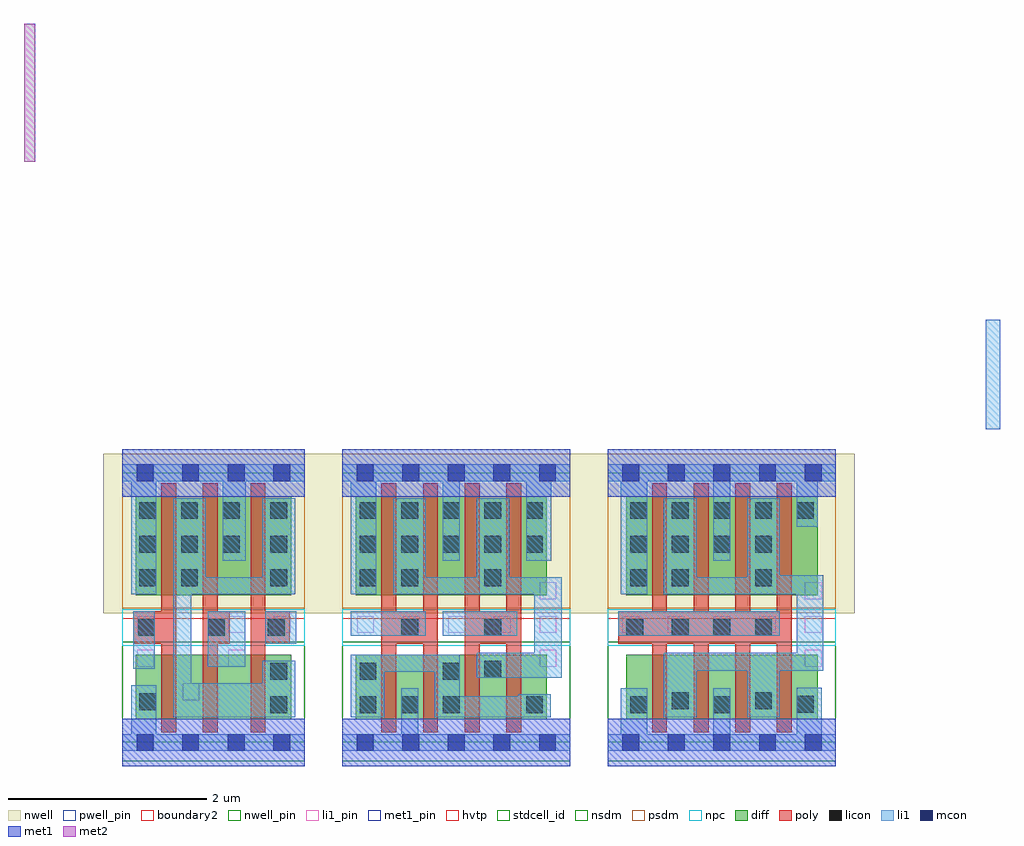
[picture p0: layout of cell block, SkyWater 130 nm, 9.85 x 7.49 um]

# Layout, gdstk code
import gdstk
lib = gdstk.Library(unit=1e-6, precision=1e-09)
def R(c, l, rs):  # rectangles x0, y0, x1, y1
    for r in rs: c.add(gdstk.rectangle(r[:2], r[2:], *l))
def A(c, l, x, y, w, h, nx, ny, dx, dy):  # array of equal rectangles
    R(c, l, [(x+i*dx, y+j*dy, x+i*dx+w, y+j*dy+h) for i in range(nx) for j in range(ny)])
def P(c, l, *ps):  # polygons
    for p in ps: c.add(gdstk.Polygon(p, *l))
nwell_pin = (64, 16)
nwell = (64, 20)
diff = (65, 20)
poly = (66, 20)
licon = (66, 44)
li1_pin = (67, 16)
li1 = (67, 20)
mcon = (67, 44)
met1_pin = (68, 16)
met1 = (68, 20)
met2 = (69, 20)
hvtp = (78, 44)
stdcell_id = (81, 4)
nsdm = (93, 44)
psdm = (94, 20)
npc = (95, 20)
pwell_pin = (122, 16)
boundary2 = (236, 0)

sky130_fd_sc_hd__nand3_1 = lib.new_cell('sky130_fd_sc_hd__nand3_1')
R(sky130_fd_sc_hd__nand3_1, nwell_pin, [(0.15,2.635,0.32,2.805)])
R(sky130_fd_sc_hd__nand3_1, nwell, [(-0.19,1.305,2.03,2.91)])
R(sky130_fd_sc_hd__nand3_1, diff, [(0.135,0.235,1.705,0.885), (0.135,1.485,1.705,2.485)])
P(sky130_fd_sc_hd__nand3_1, poly, [(1.295,0.105),(1.295,2.615),(1.445,2.615),(1.445,1.325),(1.69,1.325),(1.69,0.995),(1.445,0.995),(1.445,0.105)],
  [(0.815,0.105),(0.815,2.615),(0.965,2.615),(0.965,1.325),(1.085,1.325),(1.085,0.995),(0.965,0.995),(0.965,0.105)],
  [(0.395,0.105),(0.395,0.995),(0.11,0.995),(0.11,1.325),(0.395,1.325),(0.395,2.615),(0.545,2.615),(0.545,0.105)])
A(sky130_fd_sc_hd__nand3_1, licon, 1.495, 1.575, 0.17, 0.17, 1, 3, 0, 0.34)
A(sky130_fd_sc_hd__nand3_1, licon, 0.175, 1.915, 0.17, 0.17, 3, 2, 0.42, 0.34)
R(sky130_fd_sc_hd__nand3_1, licon, [(1.495,0.295,1.665,0.465), (0.175,0.325,0.345,0.495), (1.495,0.635,1.665,0.805), (0.16,1.075,0.33,1.245), (0.865,1.075,1.035,1.245), (1.47,1.075,1.64,1.245), (0.175,1.575,0.345,1.745), (0.595,1.575,0.765,1.745)])
R(sky130_fd_sc_hd__nand3_1, li1_pin, [(0.61,0.425,0.78,0.595), (0.15,0.765,0.32,0.935), (1.07,0.765,1.24,0.935), (0.15,1.105,0.32,1.275), (1.07,1.105,1.24,1.275), (1.53,1.105,1.7,1.275)])
R(sky130_fd_sc_hd__nand3_1, li1, [(0.11,0.745,0.33,1.325), (0.865,0.765,1.24,1.325), (1.445,0.995,1.755,1.325)])
P(sky130_fd_sc_hd__nand3_1, li1, [(0.09,1.495),(0.09,2.635),(0,2.635),(0,2.805),(1.84,2.805),(1.84,2.635),(1.245,2.635),(1.245,1.835),(1.015,1.835),(1.015,2.635),(0.345,2.635),(0.345,1.495)],
  [(0,-0.085),(0,0.085),(0.09,0.085),(0.09,0.575),(0.345,0.575),(0.345,0.085),(1.84,0.085),(1.84,-0.085)],
  [(0.515,0.255),(0.515,2.465),(0.845,2.465),(0.845,1.665),(1.415,1.665),(1.415,2.465),(1.745,2.465),(1.745,1.495),(0.695,1.495),(0.695,0.595),(1.415,0.595),(1.415,0.825),(1.745,0.825),(1.745,0.255)])
A(sky130_fd_sc_hd__nand3_1, mcon, 0.145, -0.085, 0.17, 0.17, 4, 2, 0.46, 2.72)
R(sky130_fd_sc_hd__nand3_1, met1_pin, [(0.15,-0.085,0.32,0.085), (0.15,2.635,0.32,2.805)])
R(sky130_fd_sc_hd__nand3_1, hvtp, [(0,1.25,1.84,2.72)])
R(sky130_fd_sc_hd__nand3_1, stdcell_id, [(0,0,1.84,2.72)])
R(sky130_fd_sc_hd__nand3_1, nsdm, [(0,-0.19,1.84,1.015)])
R(sky130_fd_sc_hd__nand3_1, psdm, [(0,1.355,1.84,2.91)])
R(sky130_fd_sc_hd__nand3_1, npc, [(0,0.975,1.84,1.345)])
R(sky130_fd_sc_hd__nand3_1, pwell_pin, [(0.15,-0.085,0.32,0.085)])
R(sky130_fd_sc_hd__nand3_1, boundary2, [(0,0,1.84,2.72)])
sky130_fd_sc_hd__nand3_1.add(gdstk.FlexPath([(0,2.72),(1.84,2.72)], 0.48, ends="flush", simple_path=True, layer=68, datatype=20))  # met1
sky130_fd_sc_hd__nand3_1.add(gdstk.FlexPath([(0,0),(1.84,0)], 0.48, ends="flush", simple_path=True, layer=68, datatype=20))  # met1
sky130_fd_sc_hd__nand3_1.add(gdstk.Label('Y', (0.695,0.51), layer=67, texttype=5))
sky130_fd_sc_hd__nand3_1.add(gdstk.Label('A', (1.615,1.19), layer=67, texttype=5))
sky130_fd_sc_hd__nand3_1.add(gdstk.Label('C', (0.235,1.19), layer=67, texttype=5))
sky130_fd_sc_hd__nand3_1.add(gdstk.Label('B', (1.155,1.19), layer=67, texttype=5))
sky130_fd_sc_hd__nand3_1.add(gdstk.Label('VPB', (0.235,2.72), layer=64, texttype=5))
sky130_fd_sc_hd__nand3_1.add(gdstk.Label('VNB', (0.235,0), layer=64, texttype=59))
sky130_fd_sc_hd__nand3_1.add(gdstk.Label('VGND', (0.235,0), layer=68, texttype=5))
sky130_fd_sc_hd__nand3_1.add(gdstk.Label('VPWR', (0.235,2.72), layer=68, texttype=5))
sky130_fd_sc_hd__nand3_1.add(gdstk.Label('nand3_1', (0,0), layer=83, texttype=44))

sky130_fd_sc_hd__nand2_2 = lib.new_cell('sky130_fd_sc_hd__nand2_2')
R(sky130_fd_sc_hd__nand2_2, nwell_pin, [(0.15,2.635,0.32,2.805)])
R(sky130_fd_sc_hd__nand2_2, nwell, [(-0.19,1.305,2.49,2.91)])
R(sky130_fd_sc_hd__nand2_2, diff, [(0.135,0.235,2.065,0.885), (0.135,1.485,2.065,2.485)])
P(sky130_fd_sc_hd__nand2_2, poly, [(1.235,0.105),(1.235,2.615),(1.385,2.615),(1.385,1.325),(1.655,1.325),(1.655,2.615),(1.805,2.615),(1.805,0.105),(1.655,0.105),(1.655,0.995),(1.385,0.995),(1.385,0.105)],
  [(0.395,0.105),(0.395,2.615),(0.545,2.615),(0.545,1.325),(0.815,1.325),(0.815,2.615),(0.965,2.615),(0.965,0.105),(0.815,0.105),(0.815,0.995),(0.545,0.995),(0.545,0.105)])
A(sky130_fd_sc_hd__nand2_2, licon, 0.175, 0.295, 0.17, 0.17, 3, 1, 0.42, 0)
A(sky130_fd_sc_hd__nand2_2, licon, 0.175, 1.915, 0.17, 0.17, 5, 2, 0.42, 0.34)
R(sky130_fd_sc_hd__nand2_2, licon, [(1.855,0.295,2.025,0.465), (0.175,0.635,0.345,0.805), (1.015,0.635,1.185,0.805), (1.435,0.655,1.605,0.825), (0.595,1.075,0.765,1.245), (1.435,1.075,1.605,1.245), (0.175,1.575,0.345,1.745), (0.595,1.575,0.765,1.745), (1.435,1.575,1.605,1.745)])
A(sky130_fd_sc_hd__nand2_2, li1_pin, 0.15, 1.105, 0.17, 0.17, 5, 1, 0.46, 0)
R(sky130_fd_sc_hd__nand2_2, li1_pin, [(1.99,0.765,2.16,0.935), (1.99,1.445,2.16,1.615)])
R(sky130_fd_sc_hd__nand2_2, li1, [(0.085,1.075,0.845,1.325), (1.015,1.075,1.765,1.325)])
P(sky130_fd_sc_hd__nand2_2, li1, [(0,-0.085),(0,0.085),(0.595,0.085),(0.595,0.545),(0.765,0.545),(0.765,0.085),(2.3,0.085),(2.3,-0.085)],
  [(0.085,1.495),(0.085,2.635),(0,2.635),(0,2.805),(2.3,2.805),(2.3,2.635),(2.11,2.635),(2.11,1.835),(1.855,1.835),(1.855,2.635),(1.185,2.635),(1.185,1.835),(1.015,1.835),(1.015,2.635),(0.345,2.635),(0.345,1.495)],
  [(0.085,0.255),(0.085,0.885),(1.185,0.885),(1.185,0.465),(1.775,0.465),(1.775,0.485),(2.105,0.485),(2.105,0.255),(0.935,0.255),(0.935,0.715),(0.425,0.715),(0.425,0.255)],
  [(1.355,0.655),(1.355,0.905),(1.935,0.905),(1.935,1.495),(0.515,1.495),(0.515,2.465),(0.845,2.465),(0.845,1.665),(1.355,1.665),(1.355,2.465),(1.685,2.465),(1.685,1.665),(2.215,1.665),(2.215,0.655)])
A(sky130_fd_sc_hd__nand2_2, mcon, 0.145, -0.085, 0.17, 0.17, 5, 2, 0.46, 2.72)
R(sky130_fd_sc_hd__nand2_2, met1_pin, [(0.15,-0.085,0.32,0.085), (0.15,2.635,0.32,2.805)])
R(sky130_fd_sc_hd__nand2_2, hvtp, [(0,1.25,2.3,2.72)])
R(sky130_fd_sc_hd__nand2_2, stdcell_id, [(0,0,2.3,2.72)])
R(sky130_fd_sc_hd__nand2_2, nsdm, [(0,-0.19,2.3,1.015)])
R(sky130_fd_sc_hd__nand2_2, psdm, [(0,1.355,2.3,2.91)])
R(sky130_fd_sc_hd__nand2_2, npc, [(0,0.975,2.3,1.345)])
R(sky130_fd_sc_hd__nand2_2, pwell_pin, [(0.15,-0.085,0.32,0.085)])
R(sky130_fd_sc_hd__nand2_2, boundary2, [(0,0,2.3,2.72)])
sky130_fd_sc_hd__nand2_2.add(gdstk.FlexPath([(0,2.72),(2.3,2.72)], 0.48, ends="flush", simple_path=True, layer=68, datatype=20))  # met1
sky130_fd_sc_hd__nand2_2.add(gdstk.FlexPath([(0,0),(2.3,0)], 0.48, ends="flush", simple_path=True, layer=68, datatype=20))  # met1
sky130_fd_sc_hd__nand2_2.add(gdstk.Label('Y', (2.075,0.85), layer=67, texttype=5))
sky130_fd_sc_hd__nand2_2.add(gdstk.Label('Y', (2.075,1.19), layer=67, texttype=5))
sky130_fd_sc_hd__nand2_2.add(gdstk.Label('Y', (2.075,1.53), layer=67, texttype=5))
sky130_fd_sc_hd__nand2_2.add(gdstk.Label('A', (1.615,1.19), layer=67, texttype=5))
sky130_fd_sc_hd__nand2_2.add(gdstk.Label('B', (0.695,1.19), layer=67, texttype=5))
sky130_fd_sc_hd__nand2_2.add(gdstk.Label('VPB', (0.23,2.72), layer=64, texttype=5))
sky130_fd_sc_hd__nand2_2.add(gdstk.Label('VNB', (0.23,0), layer=64, texttype=59))
sky130_fd_sc_hd__nand2_2.add(gdstk.Label('VGND', (0.23,0), layer=68, texttype=5))
sky130_fd_sc_hd__nand2_2.add(gdstk.Label('VPWR', (0.23,2.72), layer=68, texttype=5))
sky130_fd_sc_hd__nand2_2.add(gdstk.Label('nand2_2', (0,0), layer=83, texttype=44))

sky130_fd_sc_hd__inv_4 = lib.new_cell('sky130_fd_sc_hd__inv_4')
R(sky130_fd_sc_hd__inv_4, nwell_pin, [(0.145,2.635,0.315,2.805)])
R(sky130_fd_sc_hd__inv_4, nwell, [(-0.19,1.305,2.49,2.91)])
R(sky130_fd_sc_hd__inv_4, diff, [(0.185,0.235,2.115,0.885), (0.185,1.485,2.115,2.485)])
P(sky130_fd_sc_hd__inv_4, poly, [(0.445,0.105),(0.445,0.995),(0.105,0.995),(0.105,1.325),(0.445,1.325),(0.445,2.615),(0.595,2.615),(0.595,1.325),(0.865,1.325),(0.865,2.615),(1.015,2.615),(1.015,1.325),(1.285,1.325),(1.285,2.615),(1.435,2.615),(1.435,1.325),(1.705,1.325),(1.705,2.615),(1.855,2.615),(1.855,0.105),(1.705,0.105),(1.705,0.995),(1.435,0.995),(1.435,0.105),(1.285,0.105),(1.285,0.995),(1.015,0.995),(1.015,0.105),(0.865,0.105),(0.865,0.995),(0.595,0.995),(0.595,0.105)])
A(sky130_fd_sc_hd__inv_4, licon, 0.645, 1.075, 0.17, 0.17, 3, 1, 0.42, 0)
A(sky130_fd_sc_hd__inv_4, licon, 0.225, 1.915, 0.17, 0.17, 4, 1, 0.42, 0)
A(sky130_fd_sc_hd__inv_4, licon, 0.225, 2.255, 0.17, 0.17, 5, 1, 0.42, 0)
R(sky130_fd_sc_hd__inv_4, licon, [(0.225,0.295,0.395,0.465), (1.065,0.295,1.235,0.465), (1.905,0.3,2.075,0.47), (0.645,0.335,0.815,0.505), (1.485,0.335,1.655,0.505), (0.185,1.075,0.355,1.245), (0.225,1.575,0.395,1.745), (0.645,1.575,0.815,1.745), (1.485,1.575,1.655,1.745)])
A(sky130_fd_sc_hd__inv_4, li1_pin, 0.145, 1.105, 0.17, 0.17, 5, 1, 0.46, 0)
R(sky130_fd_sc_hd__inv_4, li1_pin, [(1.985,0.765,2.155,0.935), (1.985,1.445,2.155,1.615)])
R(sky130_fd_sc_hd__inv_4, li1, [(0.105,1.075,1.735,1.325)])
P(sky130_fd_sc_hd__inv_4, li1, [(0,-0.085),(0,0.085),(0.13,0.085),(0.13,0.545),(0.395,0.545),(0.395,0.085),(1.065,0.085),(1.065,0.545),(1.235,0.545),(1.235,0.085),(1.905,0.085),(1.905,0.55),(2.155,0.55),(2.155,0.085),(2.3,0.085),(2.3,-0.085)],
  [(0.13,1.495),(0.13,2.635),(0,2.635),(0,2.805),(2.3,2.805),(2.3,2.635),(2.115,2.635),(2.115,2.175),(1.905,2.175),(1.905,2.635),(1.235,2.635),(1.235,1.835),(1.065,1.835),(1.065,2.635),(0.395,2.635),(0.395,1.495)],
  [(0.565,0.255),(0.565,0.905),(1.905,0.905),(1.905,1.495),(0.565,1.495),(0.565,2.465),(0.895,2.465),(0.895,1.665),(1.405,1.665),(1.405,2.465),(1.735,2.465),(1.735,1.685),(2.17,1.685),(2.17,0.725),(1.735,0.725),(1.735,0.255),(1.405,0.255),(1.405,0.725),(0.895,0.725),(0.895,0.255)])
A(sky130_fd_sc_hd__inv_4, mcon, 0.145, -0.085, 0.17, 0.17, 5, 2, 0.46, 2.72)
R(sky130_fd_sc_hd__inv_4, met1_pin, [(0.145,-0.085,0.315,0.085), (0.145,2.635,0.315,2.805)])
R(sky130_fd_sc_hd__inv_4, hvtp, [(0,1.25,2.3,2.72)])
R(sky130_fd_sc_hd__inv_4, stdcell_id, [(0,0,2.3,2.72)])
R(sky130_fd_sc_hd__inv_4, nsdm, [(0,-0.19,2.3,1.015)])
R(sky130_fd_sc_hd__inv_4, psdm, [(0,1.355,2.3,2.91)])
R(sky130_fd_sc_hd__inv_4, npc, [(0,0.975,2.3,1.345)])
R(sky130_fd_sc_hd__inv_4, pwell_pin, [(0.145,-0.085,0.315,0.085)])
R(sky130_fd_sc_hd__inv_4, boundary2, [(0,0,2.3,2.72)])
sky130_fd_sc_hd__inv_4.add(gdstk.FlexPath([(0,2.72),(2.3,2.72)], 0.48, ends="flush", simple_path=True, layer=68, datatype=20))  # met1
sky130_fd_sc_hd__inv_4.add(gdstk.FlexPath([(0,0),(2.3,0)], 0.48, ends="flush", simple_path=True, layer=68, datatype=20))  # met1
sky130_fd_sc_hd__inv_4.add(gdstk.Label('Y', (2.07,0.85), layer=67, texttype=5))
sky130_fd_sc_hd__inv_4.add(gdstk.Label('Y', (2.07,1.19), layer=67, texttype=5))
sky130_fd_sc_hd__inv_4.add(gdstk.Label('Y', (2.07,1.53), layer=67, texttype=5))
sky130_fd_sc_hd__inv_4.add(gdstk.Label('A', (0.23,1.19), layer=67, texttype=5))
sky130_fd_sc_hd__inv_4.add(gdstk.Label('A', (0.69,1.19), layer=67, texttype=5))
sky130_fd_sc_hd__inv_4.add(gdstk.Label('A', (1.15,1.19), layer=67, texttype=5))
sky130_fd_sc_hd__inv_4.add(gdstk.Label('A', (1.61,1.19), layer=67, texttype=5))
sky130_fd_sc_hd__inv_4.add(gdstk.Label('VPB', (0.23,2.72), layer=64, texttype=5))
sky130_fd_sc_hd__inv_4.add(gdstk.Label('VNB', (0.23,0), layer=64, texttype=59))
sky130_fd_sc_hd__inv_4.add(gdstk.Label('VPWR', (0.23,2.72), layer=68, texttype=5))
sky130_fd_sc_hd__inv_4.add(gdstk.Label('VGND', (0.23,0), layer=68, texttype=5))
sky130_fd_sc_hd__inv_4.add(gdstk.Label('inv_4', (0,0), layer=83, texttype=44))

block = lib.new_cell('block')
R(block, li1, [(8.71,3.16,8.855,4.265)])
R(block, met2, [(-0.99,5.86,-0.875,7.25)])
block.add(gdstk.Reference(sky130_fd_sc_hd__nand3_1, (0,0)))
block.add(gdstk.Reference(sky130_fd_sc_hd__nand2_2, (2.22,0)))
block.add(gdstk.Reference(sky130_fd_sc_hd__inv_4, (4.9,0)))

lib.write_gds('block.gds')
